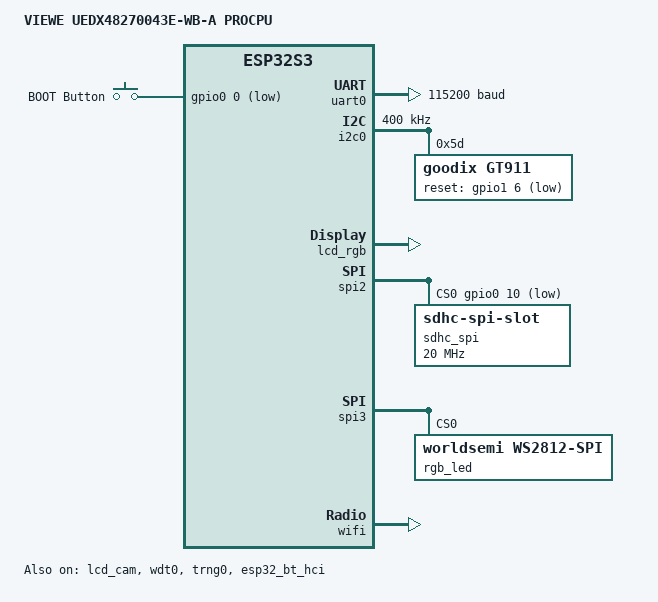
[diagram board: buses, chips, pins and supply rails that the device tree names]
/*
 * Copyright (c) 2024-2026 Espressif Systems (Shanghai) Co., Ltd.
 * Copyright (c) 2026 VIEWE Display Co., Ltd.
 *
 * SPDX-License-Identifier: Apache-2.0
 */

/dts-v1/;

#include <espressif/esp32s3/esp32s3.dtsi>
#include <espressif/partitions_0x0_amp_16M.dtsi>
#include <zephyr/dt-bindings/display/panel.h>
#include <zephyr/dt-bindings/input/input-event-codes.h>
#include <zephyr/dt-bindings/led/led.h>
#include <zephyr/dt-bindings/led/worldsemi_ws2812c.h>
#include "uedx48270043e_wb_a-pinctrl.dtsi"

/ {
	model = "VIEWE UEDX48270043E-WB-A PROCPU";
	compatible = "viewe,uedx48270043e_wb_a", "espressif,esp32s3";

	chosen {
		zephyr,sram = &sram1;
		zephyr,console = &uart0;
		zephyr,shell-uart = &uart0;
		zephyr,flash = &flash0;
		zephyr,code-partition = &slot0_partition;
		zephyr,bt-hci = &esp32_bt_hci;
		zephyr,display = &lcd_rgb;
		zephyr,touch = &gt911;
	};

	aliases {
		i2c-0 = &i2c0;
		uart-0 = &uart0;
		sw0 = &button0;
		watchdog0 = &wdt0;
		sdhc0 = &sdhc0;
		led-strip = &rgb_led;
	};

	buttons {
		compatible = "gpio-keys";
		debounce-interval-ms = <10>;

		button0: button_0 {
			gpios = <&gpio0 0 (GPIO_PULL_UP | GPIO_ACTIVE_LOW)>;
			label = "BOOT Button";
			zephyr,code = <INPUT_KEY_0>;
		};
	};
};

&flash0 {
	reg = <0x0 DT_SIZE_M(16)>;
	ranges = <0x0 0x0 DT_SIZE_M(16)>;
};

&psram0 {
	size = <DT_SIZE_M(8)>;
};

&dma {
	status = "okay";
};

&gpio0 {
	status = "okay";
};

&gpio1 {
	status = "okay";
};

&uart0 {
	status = "okay";
	current-speed = <115200>;
	pinctrl-0 = <&uart0_default>;
	pinctrl-names = "default";
};

&i2c0 {
	status = "okay";
	clock-frequency = <I2C_BITRATE_FAST>;
	pinctrl-0 = <&i2c0_default>;
	pinctrl-names = "default";

	gt911: gt911@5d {
		compatible = "goodix,gt911";
		reg = <0x5d>;
		alt-addr = <0x14>;
		reset-gpios = <&gpio1 6 GPIO_ACTIVE_LOW>; /* GPIO38 */
		screen-width = <480>;
		screen-height = <272>;
	};
};

&lcd_cam {
	status = "okay";
	pinctrl-0 = <&lcd_cam_default>;
	pinctrl-names = "default";

	lcd_rgb: lcd-rgb {
		compatible = "espressif,esp32-lcd-cam-rgb";
		status = "okay";
		width = <480>;
		height = <272>;
		pixel-format = <PANEL_PIXEL_FORMAT_RGB_565>;
		data-bus-width = <16>;
		backlight-gpios = <&gpio0 2 GPIO_ACTIVE_HIGH>; /* GPIO2 LP3321B6F EN */

		display-timings {
			compatible = "zephyr,panel-timing";
			clock-frequency = <12000000>;
			hsync-len = <1>;
			hback-porch = <42>;
			hfront-porch = <20>;
			vsync-len = <10>;
			vback-porch = <12>;
			vfront-porch = <4>;
			hsync-active = <0>;
			vsync-active = <0>;
			de-active = <1>;
			pixelclk-active = <1>;
		};
	};
};

&spi2 {
	#address-cells = <1>;
	#size-cells = <0>;
	status = "okay";
	pinctrl-0 = <&spim2_default>;
	pinctrl-names = "default";
	cs-gpios = <&gpio0 10 GPIO_ACTIVE_LOW>; /* GPIO10 MicroSD CS */

	sdhc_spi: sdhc@0 {
		compatible = "zephyr,sdhc-spi-slot";
		reg = <0>;
		status = "okay";
		spi-max-frequency = <DT_FREQ_M(20)>;

		mmc {
			compatible = "zephyr,sdmmc-disk";
			disk-name = "SD";
			status = "okay";
		};
	};
};

/*
 * Barra de LEDs endereçaveis WS2812D (Total: 21 LEDs) via SPI3 MOSI em GPIO17:
 * - LEDs 0..14 (15 LEDs): Barra Superior (Shift lights F1 da esquerda para a direita)
 * - LEDs 15..17 (3 LEDs): Lateral Direita (de baixo para cima)
 * - LEDs 18..20 (3 LEDs): Lateral Esquerda (de baixo para cima)
 */
&spi3 {
	#address-cells = <1>;
	#size-cells = <0>;
	status = "okay";
	line-idle-low;
	pinctrl-0 = <&spim3_ws2812_led>;
	pinctrl-names = "default";

	rgb_led: ws2812@0 {
		compatible = "worldsemi,ws2812-spi";
		reg = <0>;
		spi-max-frequency = <WS2812C_SPI_FREQ>;
		chain-length = <21>;
		color-mapping = <LED_COLOR_ID_GREEN>,
				<LED_COLOR_ID_RED>,
				<LED_COLOR_ID_BLUE>;
		spi-one-frame = <WS2812C_ONE_FRAME>;
		spi-zero-frame = <WS2812C_ZERO_FRAME>;
	};
};

&timer0 {
	status = "disabled";
};

&timer1 {
	status = "disabled";
};

&timer2 {
	status = "disabled";
};

&timer3 {
	status = "disabled";
};

&wdt0 {
	status = "okay";
};

&trng0 {
	status = "okay";
};

&esp32_bt_hci {
	status = "okay";
};

&wifi {
	status = "okay";
};
